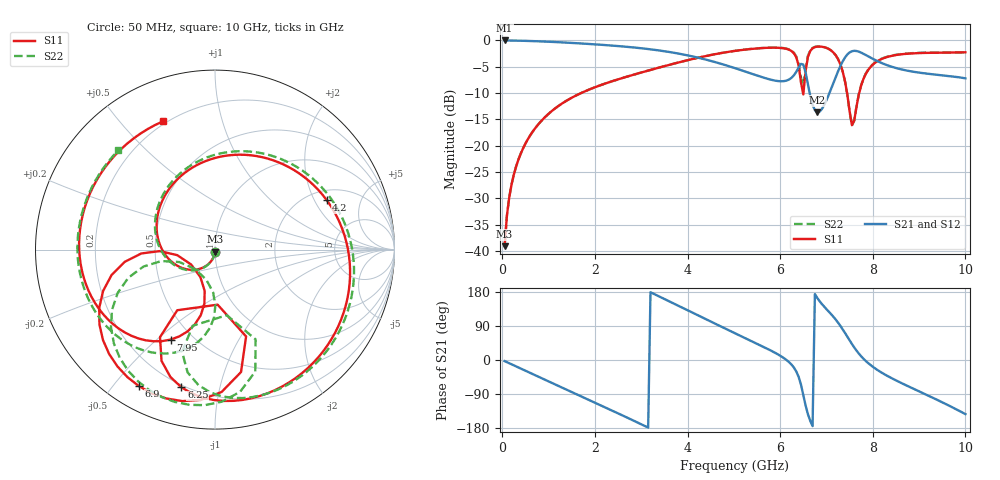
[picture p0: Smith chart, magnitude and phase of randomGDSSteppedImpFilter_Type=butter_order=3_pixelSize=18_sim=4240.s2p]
! freq	dB(S11)	phase(S11)	dB(S12)	phase(S12)
!  dB(S21)	phase(S21)	dB(S22)	phase(S22)
!S-par simulation data
#  GHz  S  DB  R 50
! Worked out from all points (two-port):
!   200 points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, 50 MHz to 10 GHz, reference 50 ohm
!   highest |S21| = -0.01 dB at 50 MHz (marker M1); lowest = -13.6 dB at 6.8 GHz (marker M2)
!   |S21| within 3 dB of the highest: start of sweep to 4.093 GHz; 7.421 GHz to 7.899 GHz (477.6 MHz wide, 6.24 % of centre)
!   lowest |S11| = -39.1 dB at 50 MHz (marker M3), VSWR 1.02, Z = 50 - j1.11 ohm
!   |S11| at or under -10 dB: start of sweep to 1.701 GHz; 6.494365 GHz to 6.502832 GHz (8.467 MHz wide, 0.13 % of centre); 7.445 GHz to 7.707 GHz (261.3 MHz wide, 3.45 % of centre)
!   |S22| runs from -39.1 to -1.1 dB; largest |S21 - S12| = 0
!   S11 on the Smith chart (normalised r, x): 50 MHz: 1.00, -0.02; 4.2 GHz: 2.44, +2.52; 6.25 GHz: 0.19, -0.77; 6.9 GHz: 0.09, -0.58; 7.95 GHz: 0.38, -0.56; 10 GHz: 0.19, +0.66
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0.05  -39.06 -90.5  -0.01 -2.9  -0.01 -2.9  -39.06 -90.4
0.2  -27.35 -101.2  -0.03 -11.4  -0.03 -11.4  -27.35 -100.9
0.5  -19.58 -119.3  -0.09 -28.4  -0.09 -28.4  -19.58 -118.4
1.75  -9.80 169.0  -0.61 -98.4  -0.61 -98.4  -9.80 172.4
2.65  -6.99 116.9  -1.19 -149.3  -1.19 -149.3  -6.99 122.6
3.4  -5.12 72.2  -1.93 167.0  -1.93 167.0  -5.12 80.0
4.2  -3.34 24.0  -3.22 119.3  -3.22 119.3  -3.34 33.2
5.05  -1.96 -26.1  -5.34 69.2  -5.34 69.2  -1.95 -16.2
5.8  -1.39 -70.1  -7.46 25.0  -7.46 25.0  -1.37 -59.6
6.25  -2.05 -103.7  -7.07 -12.8  -7.07 -12.8  -1.98 -91.9
6.4  -4.79 -122.1  -5.14 -44.8  -5.14 -44.8  -4.46 -107.8
6.5  -10.25 -87.2  -4.59 -92.2  -4.59 -92.2  -8.60 -79.8
6.7  -1.50 -95.3  -12.23 -174.5  -12.23 -174.5  -1.43 -87.3
6.8  -1.18 -108.2  -13.63 164.1  -13.63 164.1  -1.14 -99.4
6.9  -1.20 -119.2  -13.05 147.8  -13.05 147.8  -1.18 -110.0
7.2  -2.83 -153.3  -6.95 106.7  -6.95 106.7  -2.82 -143.3
7.45  -10.23 -178.4  -2.68 61.7  -2.68 61.7  -10.29 -167.9
7.55  -16.10 -147.9  -2.06 42.2  -2.06 42.2  -16.18 -136.3
7.95  -5.06 -116.2  -3.26 -13.2  -3.26 -13.2  -4.99 -104.5
8.35  -3.05 -143.8  -4.83 -44.3  -4.83 -44.3  -3.00 -131.0
9.15  -2.37 168.3  -6.29 -91.3  -6.29 -91.3  -2.32 -175.3
10  -2.25 112.0  -7.20 -142.8  -7.20 -142.8  -2.25 134.2
